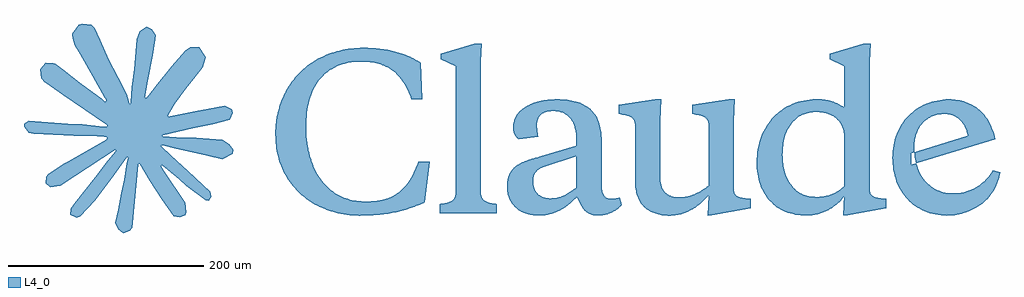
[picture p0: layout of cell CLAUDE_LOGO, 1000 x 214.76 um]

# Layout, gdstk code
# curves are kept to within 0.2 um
import gdstk
lib = gdstk.Library(unit=1e-6, precision=1e-09)
def P(c, l, *ps):  # polygons
    for p in ps: c.add(gdstk.Polygon(p, *l))
L4_0 = (4, 0)

claude_logo = lib.new_cell('CLAUDE_LOGO')
P(claude_logo, L4_0, [(101.771,0),(96.336,4.131),(93.452,10.812),(102.641,54.944),(105.191,71.959),(106.612,77.988),(105.365,77.828),(73.031,33.856),(57.596,17.334),(53.9,15.87),(47.494,19.189),(48.088,25.117),(51.668,30.392),(85.916,74.408),(94.235,84.133),(94.177,85.539),(93.684,85.539),(36.943,48.697),(26.841,47.393),(22.493,51.465),(23.03,58.147),(25.088,60.321),(42.146,72.06),(84.336,95.64),(85.046,97.698),(84.336,98.843),(51.088,99.93),(9.884,101.887),(4.783,102.974),(0,109.279),(0.493,112.424),(4.783,115.308),(59.668,111.568),(81.568,109.293),(85.046,109.293),(85.539,110.699),(83.423,112.438),(39.508,141.83),(21.088,154.932),(17.827,159.063),(16.421,168.077),(22.291,174.541),(30.175,174.005),(32.189,173.469),(57.234,154.12),(79.51,137.714),(82.771,135.004),(84.075,135.931),(84.234,136.584),(70.654,160.932),(57.726,183.208),(51.973,192.44),(50.038,199.828),(49.523,204.499),(56.205,213.571),(59.9,214.76),(68.814,213.571),(72.567,210.31),(87.075,177.701),(105.061,142.54),(108.047,132.815),(109.452,132.815),(110.597,149.396),(112.713,168.15),(115.482,199.078),(118.844,207.223),(125.525,211.629),(130.743,209.136),(135.033,202.991),(131.888,182.44),(123.627,139.076),(125.525,139.076),(127.699,141.25),(136.497,152.932),(151.28,171.411),(165.411,186.846),(170.295,190.701),(179.527,190.701),(186.324,180.599),(183.281,170.164),(165.889,147.888),(154.584,132.671),(147.526,120.496),(148.178,119.525),(149.859,119.685),(175.396,125.12),(205.658,130.439),(213.108,126.96),(213.919,123.424),(210.992,116.192),(193.382,111.844),(172.73,107.713),(141.598,100.162),(142.033,99.626),(155.889,98.322),(161.816,98.003),(176.324,98.003),(203.339,95.988),(210.397,91.321),(214.629,85.611),(213.919,81.263),(203.049,75.727),(142.41,90.278),(140.787,90.278),(140.787,89.307),(150.57,79.741),(190.948,42.682),(192.093,37.523),(189.208,33.45),(186.165,33.885),(166.44,48.726),(141.598,69.915),(140.453,69.915),(140.453,68.393),(165.396,31.059),(166.483,21.392),(164.961,18.247),(159.526,16.348),(153.555,17.435),(141.279,34.668),(128.612,54.074),(118.395,71.466),(117.148,70.756),(111.119,5.812),(108.293,2.493)],
  [(661.353,18.189),(655.484,18.491),(650.067,19.401),(645.13,20.925),(642.119,22.285),(638.042,24.845),(634.517,28.035),(631.572,31.859),(629.944,34.764),(628.026,39.66),(627.108,43.286),(626.174,51.41),(626.134,110.308),(625.791,113.857),(625.13,115.782),(624.068,117.394),(621.099,119.561),(616.496,121.052),(609.177,122.322),(609.177,131.772),(646.569,137.149),(652.975,137.149),(651.888,115.032),(651.888,57.364),(652.43,51.182),(653.259,48.035),(654.92,44.473),(656.564,42.264),(659.262,39.915),(661.644,38.588),(665.273,37.378),(669.386,36.784),(673.651,36.766),(680.509,37.792),(687.045,40.017),(694.294,43.871),(701.499,48.943),(701.499,110.351),(701.155,113.901),(699.738,117.062),(696.982,119.34),(692.627,120.917),(684.759,122.366),(684.759,131.815),(722.093,137.192),(728.34,137.192),(727.253,115.076),(727.445,43.018),(727.919,41.028),(728.735,39.447),(729.945,38.219),(731.6,37.291),(736.457,36.117),(744.413,35.407),(744.413,25.74),(704.905,18.247),(700.484,18.189),(701.571,39.219),(696.563,33.757),(692.206,29.832),(687.543,26.371),(682.579,23.436),(677.317,21.09),(671.763,19.396),(665.92,18.416)],
  [(527.421,18.247),(520.162,18.808),(516.843,19.494),(512.268,21.001),(509.494,22.308),(505.759,24.696),(502.552,27.567),(500.716,29.731),(499.126,32.084),(497.216,35.942),(495.891,40.164),(495.341,43.164),(495.009,48.414),(495.127,51.896),(495.802,55.801),(497.04,59.566),(498.826,63.132),(500.888,65.755),(503.861,68.552),(507.347,70.916),(515.149,74.43),(529.492,78.799),(566.045,78.799),(533.001,68.306),(529.66,66.938),(526.434,64.886),(524.385,62.799),(522.904,60.338),(521.863,56.851),(521.595,53.465),(521.775,50.4),(522.305,47.601),(523.535,44.296),(524.833,42.147),(527.038,39.738),(529.032,38.283),(532.118,36.826),(534.736,36.106),(538.607,35.658),(542.273,35.744),(546.361,36.312),(549.464,37.157),(553.282,38.721),(560.524,43.041),(566.045,47.059),(566.045,78.799),(529.492,78.799),(566.045,89.771),(565.95,99.084),(564.878,106.689),(563.164,111.947),(561.38,115.375),(558.34,119.215),(555.563,121.519),(551.2,123.782),(547.434,124.842),(541.755,125.366),(537.038,124.992),(533.848,124.155),(530.585,122.439),(528.552,120.533),(526.73,117.485),(525.702,113.702),(525.45,110.148),(526.754,99.003),(506.971,96.394),(503.687,99.754),(502.475,101.962),(501.669,104.431),(501.268,107.163),(501.272,110.277),(501.705,113.451),(502.555,116.45),(503.803,119.271),(505.434,121.907),(507.429,124.353),(511.068,127.654),(513.899,129.602),(518.711,132.129),(524.151,134.169),(528.096,135.248),(534.45,136.433),(538.952,136.926),(546.059,137.207),(551.426,137.067),(561.218,135.917),(569.721,133.537),(573.478,131.859),(576.9,129.843),(579.981,127.477),(582.716,124.751),(585.102,121.654),(587.134,118.177),(588.806,114.309),(590.115,110.039),(591.387,102.857),(591.767,97.537),(591.849,48.053),(592.378,43.444),(593.311,40.374),(594.383,38.426),(595.749,36.933),(597.412,35.897),(598.856,35.421),(601.046,35.189),(604.314,35.344),(610.453,36.494),(612.626,29.001),(606.279,23.826),(603.324,22.061),(599.515,20.322),(595.579,19.107),(591.517,18.417),(587.146,18.266),(584.221,18.559),(581.537,19.199),(578.309,20.587),(576.133,22.025),(573.534,24.465),(571.793,26.683),(569.725,30.149),(566.712,37.595),(562.355,33.127),(557.84,29.228),(553.166,25.907),(548.333,23.171),(543.342,21.029),(538.193,19.489),(532.886,18.559)],
  [(342.813,18.225),(332.045,18.889),(322.953,20.422),(314.056,22.828),(305.416,26.09),(295.998,30.87),(289.06,35.532),(282.789,40.763),(277.195,46.522),(272.284,52.766),(266.818,61.776),(263.539,68.992),(260.278,79.147),(258.307,89.821),(257.687,98.108),(257.739,107.081),(258.655,116.244),(260.484,125.245),(263.211,134.014),(266.818,142.485),(271.228,150.433),(276.233,157.508),(281.855,163.927),(288.055,169.677),(294.797,174.742),(302.043,179.108),(312.422,183.818),(320.696,186.497),(329.348,188.428),(338.339,189.598),(347.633,189.991),(358.48,189.617),(368.714,188.496),(378.342,186.632),(389.108,183.418),(397.43,179.929),(406.649,174.773),(408.171,137.221),(396.983,137.221),(394.213,144.467),(392.155,148.844),(387.514,156.542),(384.921,159.874),(380.679,164.247),(377.609,166.753),(372.63,169.916),(365.27,173.055),(357.051,175.008),(347.939,175.827),(338.47,175.544),(328.823,173.92),(320.269,170.982),(312.789,166.807),(306.367,161.47),(300.982,155.046),(296.618,147.612),(293.255,139.242),(291.56,133.18),(290.298,126.759),(289.461,120),(289.046,112.926),(289.038,104.392),(289.535,97.096),(290.541,89.861),(292.052,82.716),(294.061,75.685),(296.529,68.903),(299.434,62.69),(302.85,56.956),(306.772,51.735),(309.665,48.557),(314.416,44.269),(317.856,41.745),(323.419,38.486),(327.394,36.68),(333.752,34.547),(338.252,33.524),(345.389,32.612),(350.401,32.436),(357.683,32.72),(363.496,33.433),(369.529,34.773),(374.27,36.4),(379.201,38.781),(383.687,41.689),(387.751,45.141),(391.442,49.166),(394.807,53.787),(397.895,59.033),(400.751,64.927),(404.07,73.248),(415.476,73.248),(410.751,31.841),(402.008,28.068),(394.719,25.458),(387.13,23.227),(379.207,21.391),(370.913,19.963),(362.214,18.958),(353.074,18.391)],
  [(801.371,18.247),(795.607,18.503),(787.528,19.82),(782.534,21.294),(775.655,24.354),(771.491,26.933),(765.905,31.567),(761.138,37.066),(758.433,41.182),(755.107,47.987),(752.691,55.495),(751.216,63.646),(750.773,69.407),(751.025,79.513),(751.928,86.325),(753.399,92.797),(755.411,98.909),(757.934,104.642),(762.618,112.49),(768.296,119.377),(773.75,124.337),(812.125,124.337),(808.195,124.147),(802.666,123.161),(799.236,122.048),(794.496,119.71),(791.618,117.717),(787.744,114.094),(784.427,109.732),(782.539,106.426),(780.212,100.887),(779.009,96.818),(777.748,90.169),(777.281,85.382),(777.124,80.321),(777.436,73.557),(778.372,67.179),(779.93,61.25),(782.107,55.829),(783.902,52.528),(788.315,46.757),(792.343,43.226),(795.368,41.287),(798.666,39.699),(802.235,38.482),(808.097,37.389),(812.342,37.175),(816.293,37.304),(821.14,38.017),(825.836,39.321),(830.327,41.195),(834.56,43.617),(838.481,46.567),(840.662,48.581),(840.626,99.103),(840.105,103.642),(838.992,107.753),(837.327,111.428),(835.153,114.658),(832.508,117.438),(828.32,120.43),(823.463,122.589),(818.032,123.897),(812.125,124.337),(773.75,124.337),(777.25,126.954),(782.257,130.011),(790.352,133.63),(799.063,136.029),(808.296,137.146),(817.286,137.119),(825.82,135.665),(833.947,132.705),(840.662,128.859),(840.662,171.353),(825.444,178.411),(825.444,184.005),(859.793,194.324),(867.561,194.324),(866.474,175.846),(866.593,43.6),(866.986,41.5),(867.704,39.821),(868.802,38.51),(870.333,37.512),(874.906,36.239),(883.649,35.421),(883.649,25.74),(844.14,18.247),(839.575,18.247),(840.662,38.465),(837.117,34.067),(833.104,30.121),(828.663,26.667),(823.832,23.747),(818.649,21.403),(813.152,19.678),(807.38,18.612)],
  [(425.998,20.45),(425.998,29.899),(434.284,31.402),(436.953,32.364),(439.045,33.614),(440.592,35.226),(441.414,36.717),(442.086,39.141),(442.303,42.132),(442.303,171.367),(427.085,178.425),(427.085,184.02),(461.434,194.339),(469.144,194.339),(468.058,175.874),(468.168,40.558),(468.605,37.856),(469.239,36.182),(470.152,34.775),(471.827,33.26),(474.057,32.09),(476.877,31.189),(484.42,29.899),(484.42,20.45)],
  [(945.651,18.232),(939.578,18.515),(933.765,19.351),(928.229,20.718),(922.989,22.596),(918.063,24.965),(913.47,27.803),(909.226,31.09),(905.352,34.805),(900.273,41.136),(897.401,45.832),(894.963,50.884),(892.975,56.27),(891.457,61.972),(890.427,67.967),(889.904,74.236),(889.909,80.698),(890.476,86.977),(891.586,92.992),(893.215,98.722),(895.34,104.143),(897.936,109.235),(900.979,113.974),(904.446,118.338),(908.312,122.306),(912.553,125.855),(917.146,128.964),(922.065,131.609),(927.288,133.77),(932.79,135.423),(938.546,136.547),(944.534,137.12),(949.898,137.149),(958.62,136.12),(966.594,133.758),(973.766,130.108),(980.085,125.216),(985.497,119.128),(989.95,111.891),(993.391,103.549),(995.275,96.597),(909.186,70.19),(909.186,81.814),(967.173,99.8),(966.182,103.743),(964.388,108.378),(962.103,112.391),(959.354,115.761),(956.166,118.463),(952.569,120.476),(948.588,121.777),(945.367,122.271),(939.758,122.207),(934.991,121.388),(930.578,119.909),(925.303,116.974),(921.85,114.101),(917.983,109.448),(915.681,105.392),(913.93,100.893),(912.514,94.27),(912.186,88.887),(912.588,80.955),(913.775,73.608),(914.987,69.056),(917.417,62.779),(920.553,57.2),(924.366,52.362),(928.827,48.307),(932.146,46.061),(935.732,44.195),(939.575,42.722),(943.668,41.653),(948,41.003),(952.564,40.784),(958.729,41.256),(963.231,42.13),(969.016,43.955),(974.49,46.5),(978.351,48.857),(983.12,52.565),(986.374,55.75),(990.231,60.501),(992.724,64.422),(1000,62.466),(999.162,57.796),(997.883,53.295),(996.187,48.981),(994.092,44.872),(991.622,40.987),(988.796,37.343),(985.636,33.959),(982.163,30.854),(978.398,28.046),(974.362,25.552),(970.078,23.392),(965.564,21.583),(960.844,20.145),(955.937,19.095),(950.866,18.451)])

lib.write_gds('CLAUDE_LOGO.gds')
